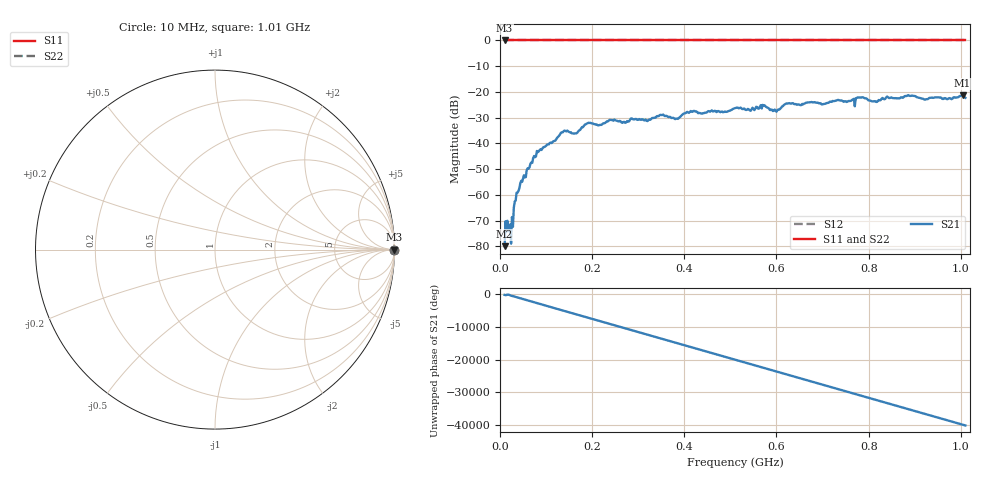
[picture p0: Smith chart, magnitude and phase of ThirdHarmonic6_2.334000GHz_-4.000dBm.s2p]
! 8/17/2025 3:23:58 AM
! C:\ANRITSUVNA\TEMP\TEMP.S2P
! CHANNEL.1
! TR.MEASUREMENT
! RAW.DATA
! RF.CORRECTION.OFF
! AVERAGING.OFF
! IF.BANDWIDTH: 5KHZ
! SWEEPTYPE:  FREQ.SWEEP(Linear)
! Reference Plane Port Info
! PORT:  PORT1  PORT2
! DISTANCE:  0  m  0  m
! TIME:  0  s  0  s
! PHASE.OFFSET:  0  deg.  0  deg.
! LOSS:  0  dB  0  dB
! REF.LOSS:  0  dB  0  dB
! REF.FREQ:  0  Hz  0  Hz
! Power Info
! POWER:  -20  dBm  -20  dBm
! EFF.POWER:  -20  dBm  -20  dBm
! SOURCE.ATTEN:  0  dB  0  dB
! TEST.ATTEN:  0  dB  0  dB
# GHZ S RI R 50.0
! FREQ.GHZ  S11RE  S11IM  S21RE  S21IM  S12RE  S12IM  S22RE  S22IM
!; PortSelection: Port_12
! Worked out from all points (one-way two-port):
!   501 points, 10 MHz to 1.01 GHz, reference 50 ohm
!   highest |S21| = -21.24 dB at 1.004 GHz (marker M1); lowest = -79.9 dB at 10 MHz (marker M2)
!   lowest |S11| = 0.0 dB at 10 MHz (marker M3)
!   |S11| at or under -10 dB: nowhere
!   |S22| runs from 0.0 to 0.0 dB; largest |S21 - S12| = 1.1
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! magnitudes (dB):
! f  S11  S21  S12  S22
! 10 MHz  0.0  -79.9  0.0  0.0
! 16 MHz  0.0  -70.0  0.0  0.0
! 24 MHz  0.0  -79.0  0.0  0.0
! 34 MHz  0.0  -62.2  0.0  0.0
! 40 MHz  0.0  -58.5  0.0  0.0
! 76 MHz  0.0  -45.4  0.0  0.0
! 136 MHz  0.0  -35.7  0.0  0.0
! 164 MHz  0.0  -36.1  0.0  0.0
! 178 MHz  0.0  -33.7  0.0  0.0
! 192 MHz  0.0  -32.0  0.0  0.0
! 322 MHz  0.0  -31.0  0.0  0.0
! 344 MHz  0.0  -29.4  0.0  0.0
! 384 MHz  0.0  -30.4  0.0  0.0
! 418 MHz  0.0  -27.7  0.0  0.0
! 510 MHz  0.0  -26.3  0.0  0.0
! 574 MHz  0.0  -25.2  0.0  0.0
! 596 MHz  0.0  -26.8  0.0  0.0
! 624 MHz  0.0  -24.5  0.0  0.0
! 678 MHz  0.0  -24.0  0.0  0.0
! 844 MHz  0.0  -22.4  0.0  0.0
! 1.004 GHz  0.0  -21.2  0.0  0.0
! 1.01 GHz  0.0  -22.3  0.0  0.0
